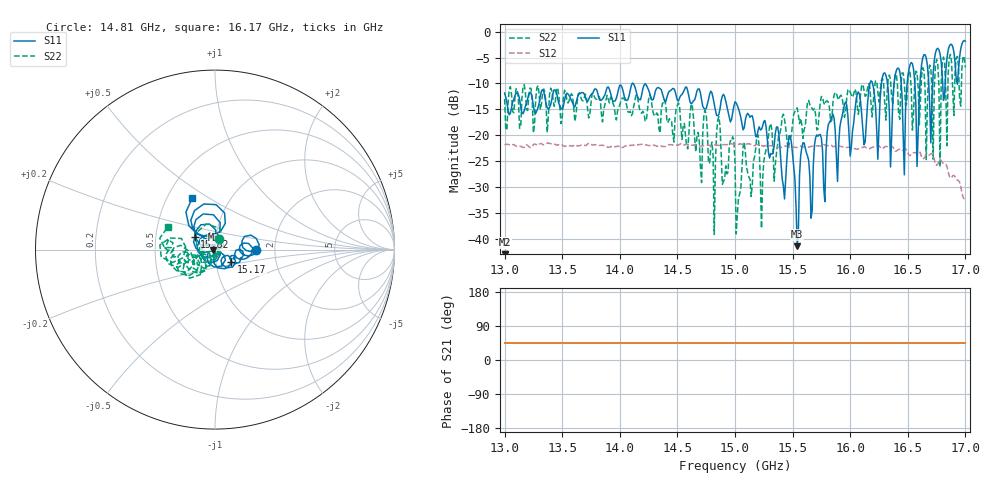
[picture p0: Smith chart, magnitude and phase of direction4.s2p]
!Keysight Technologies,P9374A,MY57211810,A.19.30.04
!Date: Friday, May 02, 2025 09:01:11
!Correction: S11(Off)
!S21(Off)
!S12(Off)
!S22(Off)
!S2P File: Measurements: S11, S21, S12, S22:
# Hz S  dB  R 50
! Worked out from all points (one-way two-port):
!   401 points, 13 GHz to 17 GHz, reference 50 ohm
!   highest |S21| = - dB at 13 GHz (marker M1); lowest = - dB at 13 GHz (marker M2)
!   lowest |S11| = -41.5 dB at 15.54 GHz (marker M3), VSWR 1.02, Z = 49.2 + j0.00968 ohm
!   |S11| at or under -10 dB: start of sweep to 14.11 GHz; 14.11 GHz to 16.17 GHz (2.057 GHz wide, 13.6 % of centre); 16.19344 GHz to 16.27143 GHz (77.99 MHz wide, 0.48 % of centre) (the widest 3 of 9)
!   |S22| runs from -39.2 to -4.4 dB; largest |S21 - S12| = 0.084
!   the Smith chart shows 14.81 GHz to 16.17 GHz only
!   S11 on the Smith chart (normalised r, x): 14.81 GHz: 1.59, -0.01; 15.17 GHz: 1.19, -0.16; 15.82 GHz: 0.79, +0.11; 16.17 GHz: 0.67, +0.42
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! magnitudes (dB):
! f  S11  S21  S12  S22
! 13 GHz  -11.9  -  -21.9  -13.0
! 13.67 GHz  -11.8  -  -21.9  -13.2
! 14.34 GHz  -10.9  -  -22.0  -18.8
! 14.74 GHz  -14.9  -  -22.0  -15.2
! 14.81 GHz  -12.8  -  -22.0  -23.9
! 14.86 GHz  -16.0  -  -22.0  -16.4
! 15 GHz  -13.5  -  -21.7  -25.3
! 15.17 GHz  -18.9  -  -22.0  -24.1
! 15.42 GHz  -29.8  -  -22.2  -15.9
! 15.48 GHz  -20.2  -  -22.3  -20.6
! 15.54 GHz  -41.5  -  -22.4  -14.7
! 15.59 GHz  -21.5  -  -22.3  -20.6
! 15.67 GHz  -34.5  -  -22.2  -14.9
! 15.82 GHz  -17.5  -  -22.0  -14.7
! 16.17 GHz  -10.1  -  -22.6  -10.7
! 16.34 GHz  -15.5  -  -22.4  -8.4
! 16.41 GHz  -7.1  -  -22.9  -10.2
! 16.58 GHz  -26.1  -  -23.2  -7.9
! 16.64 GHz  -4.5  -  -24.5  -7.6
! 16.7 GHz  -21.5  -  -23.6  -7.0
! 16.75 GHz  -3.4  -  -25.9  -5.4
! 17 GHz  -1.9  -  -32.2  -7.0
